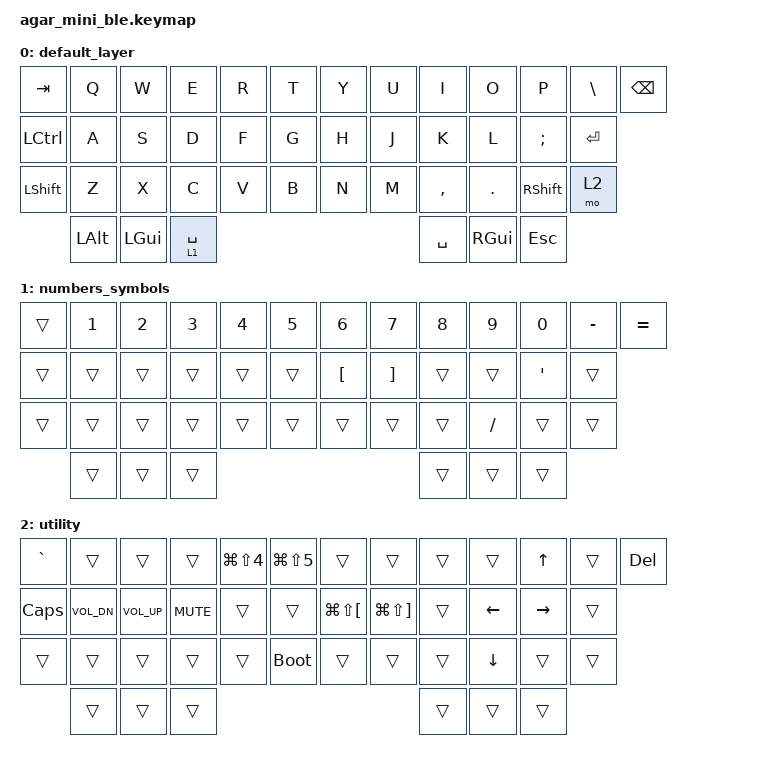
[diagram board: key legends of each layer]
/*
 * Copyright (c) 2021 The ZMK Contributors
 *
 * SPDX-License-Identifier: MIT
 */

#include "./boards/shields/klink_kbd/common.keymap"
#include <behaviors.dtsi>
#include <dt-bindings/zmk/keys.h>

/ {
    keymap {
        compatible = "zmk,keymap";

        default_layer {
            bindings = <
&kp TAB     &kp Q      &kp W     &kp E  &kp R        &kp T  &kp Y      &kp U  &kp I      &kp O      &kp P     &kp BACKSLASH  &kp BSPC
&kp LCTRL   &kp A      &kp S     &kp D  &kp F        &kp G  &kp H      &kp J  &kp K      &kp L      &kp SEMI  &kp RET
&kp LSHFT   &kp Z      &kp X     &kp C  &kp V        &kp B  &kp N      &kp M  &kp COMMA  &kp DOT    &kp RSHIFT  &mo 2
            &kp LALT  &kp LGUI         &lt 1 SPACE         &kp SPACE                &kp RGUI           &kp ESC
            >;
        };

        // Hold left Space for the number and symbol legends on the keycaps.
        numbers_symbols {
            bindings = <
&trans  &kp N1  &kp N2  &kp N3  &kp N4  &kp N5  &kp N6  &kp N7            &kp N8             &kp N9  &kp N0  &kp MINUS         &kp EQUAL
&trans  &trans  &trans  &trans  &trans  &trans  &kp LEFT_BRACKET  &kp RIGHT_BRACKET  &trans  &trans  &kp SINGLE_QUOTE  &trans
&trans  &trans  &trans  &trans  &trans  &trans  &trans             &trans              &trans  &kp SLASH  &trans  &trans
        &trans  &trans          &trans          &trans                                     &trans            &trans
            >;
        };

        // Printed 4/5 launch capture; H/J switch tabs using their [/] legends.
        // HHKB-style arrows remain on P, L, semicolon, and period.
        utility {
            bindings = <
&kp GRAVE    &trans        &trans        &trans       &kp LG(LS(N4))  &kp LG(LS(N5))  &trans       &trans  &trans  &trans          &kp UP_ARROW     &trans           &kp DELETE
&kp CAPSLOCK &kp C_VOL_DN  &kp C_VOL_UP  &kp C_MUTE  &trans  &trans  &kp LG(LS(LEFT_BRACKET))  &kp LG(LS(RIGHT_BRACKET))  &trans  &kp LEFT_ARROW  &kp RIGHT_ARROW  &trans
&trans       &trans        &trans        &trans       &trans  &bootloader  &trans       &trans  &trans  &kp DOWN_ARROW  &trans           &trans
             &trans       &trans                     &trans                  &trans                            &trans           &trans
            >;
        };
    };
};
